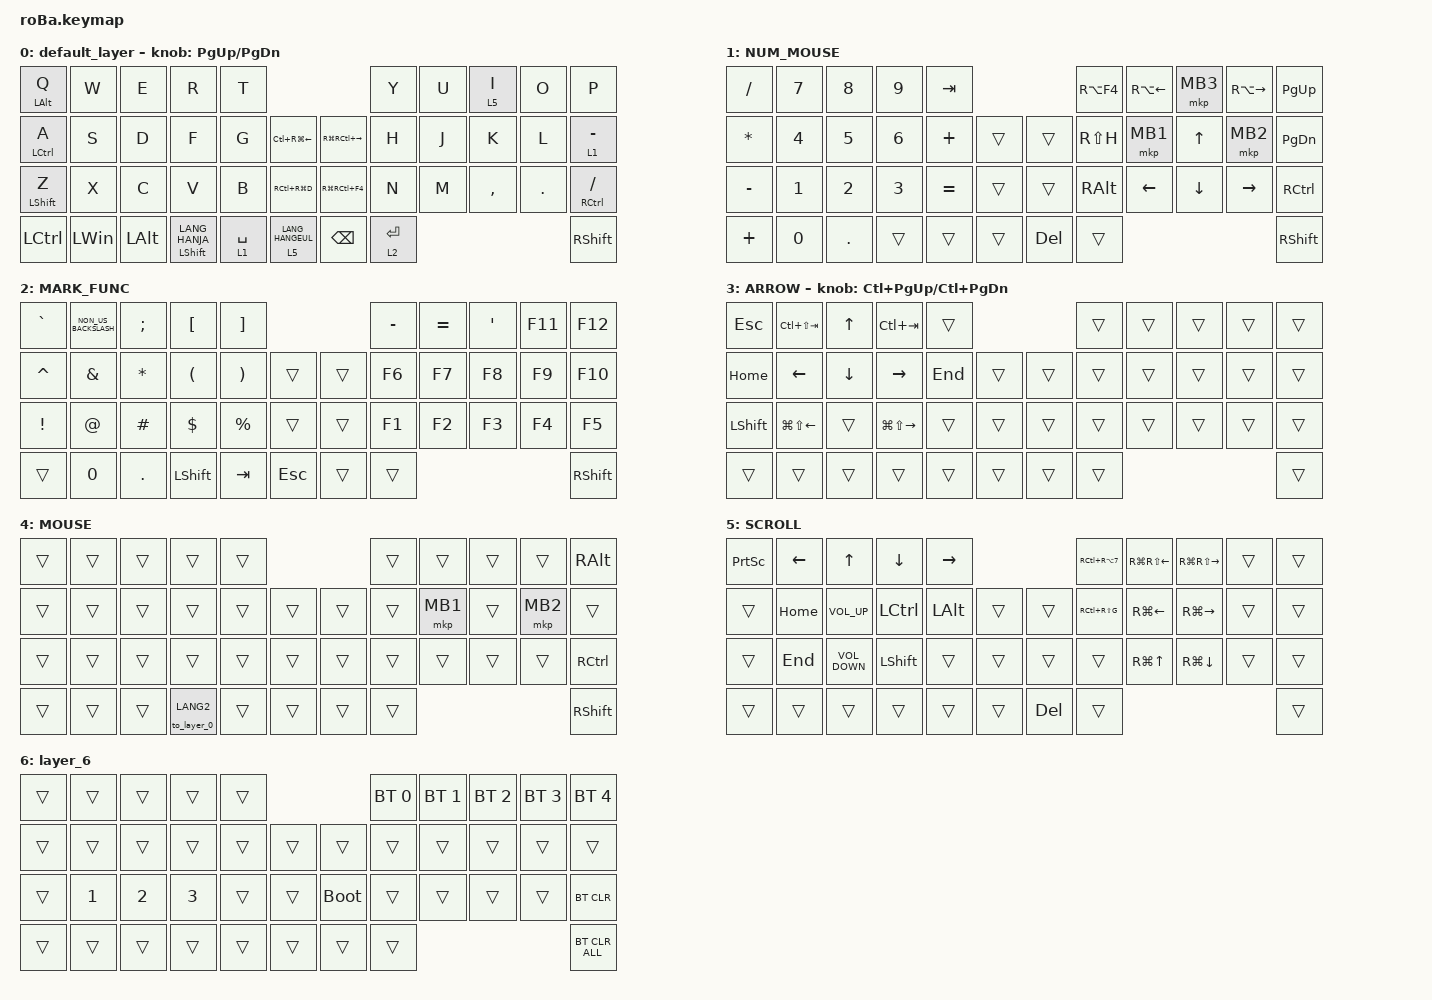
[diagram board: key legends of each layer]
#include <dt-bindings/zmk/mouse.h>
#include <behaviors.dtsi>
#include <dt-bindings/zmk/bt.h>
#include <dt-bindings/zmk/keys.h>
#include <dt-bindings/zmk/pointing.h>

#define MOUSE 4
#define SCROLL 5
#define NUM 6

&mt {
    flavor = "balanced";
    quick-tap-ms = <0>;
};

/ {
    combos {
        compatible = "zmk,combos";

        tab {
            bindings = <&kp TAB>;
            key-positions = <11 12>;
        };

        shift_tab {
            bindings = <&kp LS(TAB)>;
            key-positions = <12 13>;
        };

        muhennkann {
            bindings = <&to_layer_0 INT_MUHENKAN>;
            key-positions = <11 10>;
        };

        double_quotation {
            bindings = <&kp DOUBLE_QUOTES>;
            key-positions = <20 21>;
        };

        eq {
            bindings = <&kp EQUAL>;
            key-positions = <24 25>;
        };
    };

    macros {
        to_layer_0: to_layer_0 {
            compatible = "zmk,behavior-macro-one-param";
            #binding-cells = <1>;
            bindings = <&to 0 &macro_param_1to1 &kp MACRO_PLACEHOLDER>;
            label = "TO_LAYER_0";
        };
    };

    behaviors {
        lt_to_layer_0: lt_to_layer_0 {
            compatible = "zmk,behavior-hold-tap";
            label = "LAYER_TAP_TO_0";
            bindings = <&mo>, <&to_layer_0>;

            #binding-cells = <2>;
            tapping-term-ms = <200>;
        };
    };

    keymap {
        compatible = "zmk,keymap";

        default_layer {
            bindings = <
&mt LEFT_ALT Q      &kp W         &kp E         &kp R                      &kp T                                                           &kp Y        &kp U  &lt 5 I    &kp O    &kp P
&mt LEFT_CONTROL A  &kp S         &kp D         &kp F                      &kp G        &kp LC(RG(LEFT_ARROW))    &kp RG(RC(RIGHT_ARROW))  &kp H        &kp J  &kp K      &kp L    &lt 1 MINUS
&mt LEFT_SHIFT Z    &kp X         &kp C         &kp V                      &kp B        &kp RC(RG(D))             &kp RG(RC(F4))           &kp N        &kp M  &kp COMMA  &kp DOT  &mt RCTRL SLASH
&kp LCTRL           &kp LEFT_WIN  &kp LEFT_ALT  &mt LEFT_SHIFT LANG_HANJA  &lt 1 SPACE  &lt 5 LANG_HANGEUL        &kp BACKSPACE            &lt 2 ENTER                             &kp RIGHT_SHIFT
            >;

            sensor-bindings = <&inc_dec_kp PG_UP PAGE_DOWN>;
        };

        NUM_MOUSE {
            bindings = <
&kp FSLH      &kp NUMBER_7  &kp NUMBER_8  &kp NUMBER_9  &kp TAB                          &kp RA(F4)     &kp RA(LEFT_ARROW)  &mkp MB3        &kp RA(RIGHT_ARROW)  &kp PAGE_UP
&kp ASTERISK  &kp NUMBER_4  &kp NUMBER_5  &kp NUMBER_6  &kp PLUS   &trans    &trans      &kp RS(H)      &mkp MB1            &kp UP_ARROW    &mkp MB2             &kp PAGE_DOWN
&kp MINUS     &kp NUMBER_1  &kp NUMBER_2  &kp NUMBER_3  &kp EQUAL  &trans    &trans      &kp RIGHT_ALT  &kp LEFT_ARROW      &kp DOWN_ARROW  &kp RIGHT_ARROW      &kp RCTRL
&kp PLUS      &kp NUMBER_0  &kp DOT       &trans        &trans     &trans    &kp DELETE  &trans                                                                  &kp RIGHT_SHIFT
            >;
        };

        MARK_FUNC {
            bindings = <
&kp GRAVE        &kp NON_US_BACKSLASH  &kp SEMICOLON  &kp LEFT_BRACKET      &kp RIGHT_BRACKET                            &kp MINUS  &kp EQUAL  &kp SQT  &kp F11  &kp F12
&kp CARET        &kp AMPERSAND         &kp ASTERISK   &kp LEFT_PARENTHESIS  &kp RIGHT_PARENTHESIS  &trans        &trans  &kp F6     &kp F7     &kp F8   &kp F9   &kp F10
&kp EXCLAMATION  &kp AT_SIGN           &kp HASH       &kp DOLLAR            &kp PERCENT            &trans        &trans  &kp F1     &kp F2     &kp F3   &kp F4   &kp F5
&trans           &kp NUMBER_0          &kp PERIOD     &kp LEFT_SHIFT        &kp TAB                &kp ESCAPE    &trans  &trans                                  &kp RIGHT_SHIFT
            >;
        };

        ARROW {
            bindings = <
&kp ESCAPE      &kp LC(LS(TAB))         &kp UP_ARROW    &kp LC(TAB)              &trans                     &trans  &trans  &trans  &trans  &trans
&kp HOME        &kp LEFT_ARROW          &kp DOWN_ARROW  &kp RIGHT_ARROW          &kp END  &trans    &trans  &trans  &trans  &trans  &trans  &trans
&kp LEFT_SHIFT  &kp LG(LS(LEFT_ARROW))  &trans          &kp LG(LS(RIGHT_ARROW))  &trans   &trans    &trans  &trans  &trans  &trans  &trans  &trans
&trans          &trans                  &trans          &trans                   &trans   &trans    &trans  &trans                          &trans
            >;

            sensor-bindings = <&inc_dec_kp LC(PAGE_UP) LC(PAGE_DOWN)>;
        };

        MOUSE {
            bindings = <
&trans  &trans  &trans  &trans             &trans                    &trans  &trans    &trans  &trans    &kp RIGHT_ALT
&trans  &trans  &trans  &trans             &trans  &trans    &trans  &trans  &mkp MB1  &trans  &mkp MB2  &trans
&trans  &trans  &trans  &trans             &trans  &trans    &trans  &trans  &trans    &trans  &trans    &kp RCTRL
&trans  &trans  &trans  &to_layer_0 LANG2  &trans  &trans    &trans  &trans                              &kp RIGHT_SHIFT
            >;
        };

        SCROLL {
            bindings = <
&kp PRINTSCREEN  &kp LEFT_ARROW  &kp UP_ARROW       &kp DOWN_ARROW  &kp RIGHT_ARROW                        &kp RC(RA(NUMBER_7))  &kp RG(RS(LEFT_ARROW))  &kp RG(RS(RIGHT_ARROW))  &trans  &trans
&trans           &kp HOME        &kp C_VOLUME_UP    &kp LCTRL       &kp LEFT_ALT     &trans    &trans      &kp RC(RS(G))         &kp RG(LEFT_ARROW)      &kp RG(RIGHT_ARROW)      &trans  &trans
&trans           &kp END         &kp C_VOLUME_DOWN  &kp LEFT_SHIFT  &trans           &trans    &trans      &trans                &kp RG(UP_ARROW)        &kp RG(DOWN_ARROW)       &trans  &trans
&trans           &trans          &trans             &trans          &trans           &trans    &kp DELETE  &trans                                                                         &trans
            >;
        };

        layer_6 {
            bindings = <
&trans  &trans        &trans        &trans        &trans                         &bt BT_SEL 0  &bt BT_SEL 1  &bt BT_SEL 2  &bt BT_SEL 3  &bt BT_SEL 4
&trans  &trans        &trans        &trans        &trans  &trans    &trans       &trans        &trans        &trans        &trans        &trans
&trans  &kp NUMBER_1  &kp NUMBER_2  &kp NUMBER_3  &trans  &trans    &bootloader  &trans        &trans        &trans        &trans        &bt BT_CLR
&trans  &trans        &trans        &trans        &trans  &trans    &trans       &trans                                                  &bt BT_CLR_ALL
            >;
        };
    };
};
